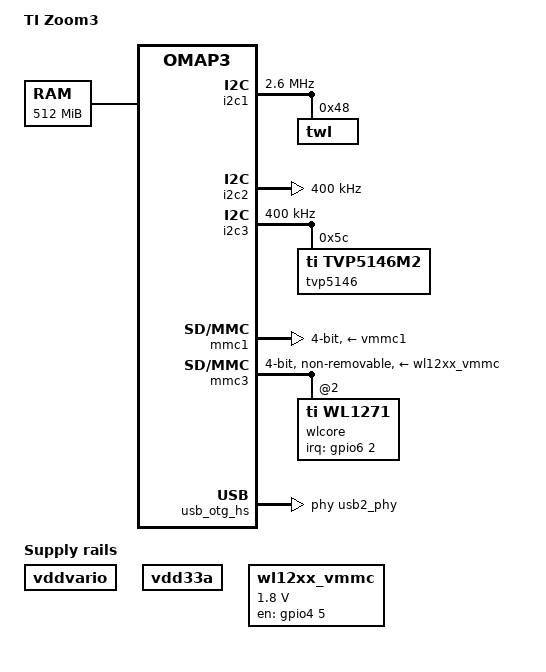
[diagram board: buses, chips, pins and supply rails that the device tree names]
// SPDX-License-Identifier: GPL-2.0-only
/*
 * Copyright (C) 2013 Texas Instruments Incorporated - http://www.ti.com/
 */
/dts-v1/;

#include "omap36xx.dtsi"
#include "omap-zoom-common.dtsi"

/ {
	model = "TI Zoom3";
	compatible = "ti,omap3-zoom3", "ti,omap36xx", "ti,omap3";

	cpus {
		cpu@0 {
			cpu0-supply = <&vcc>;
		};
	};

	memory@80000000 {
		device_type = "memory";
		reg = <0x80000000 0x20000000>; /* 512 MB */
	};

	vddvario: regulator-vddvario {
		  compatible = "regulator-fixed";
		  regulator-name = "vddvario";
		  regulator-always-on;
	};

	vdd33a: regulator-vdd33a {
		compatible = "regulator-fixed";
		regulator-name = "vdd33a";
		regulator-always-on;
	};

	wl12xx_vmmc: wl12xx_vmmc {
		pinctrl-names = "default";
		pinctrl-0 = <&wl12xx_gpio>;
		compatible = "regulator-fixed";
		regulator-name = "vwl1271";
		regulator-min-microvolt = <1800000>;
		regulator-max-microvolt = <1800000>;
		gpio = <&gpio4 5 GPIO_ACTIVE_HIGH>;	/* gpio101 */
		startup-delay-us = <70000>;
		enable-active-high;
	};
};

&omap3_pmx_core {
	/* REVISIT: twl gpio0 is mmc0_cd */
	mmc1_pins: pinmux_mmc1_pins {
		pinctrl-single,pins = <
			OMAP3_CORE1_IOPAD(0x2144, PIN_OUTPUT_PULLUP | MUX_MODE0)	/* sdmmc1_clk.sdmmc1_clk */
			OMAP3_CORE1_IOPAD(0x2146, PIN_OUTPUT_PULLUP | MUX_MODE0)	/* sdmmc1_cmd.sdmmc1_cmd */
			OMAP3_CORE1_IOPAD(0x2148, PIN_INPUT_PULLUP | MUX_MODE0)	/* sdmmc1_dat0.sdmmc1_dat0 */
			OMAP3_CORE1_IOPAD(0x214a, PIN_INPUT_PULLUP | MUX_MODE0)	/* sdmmc1_dat1.sdmmc1_dat1 */
			OMAP3_CORE1_IOPAD(0x214c, PIN_INPUT_PULLUP | MUX_MODE0)	/* sdmmc1_dat2.sdmmc1_dat2 */
			OMAP3_CORE1_IOPAD(0x214e, PIN_INPUT_PULLUP | MUX_MODE0)	/* sdmmc1_dat3.sdmmc1_dat3 */
		>;
	};

	mmc2_pins: pinmux_mmc2_pins {
		pinctrl-single,pins = <
			OMAP3_CORE1_IOPAD(0x2158, PIN_INPUT_PULLUP | MUX_MODE0)	/* sdmmc2_clk.sdmmc2_clk */
			OMAP3_CORE1_IOPAD(0x215a, PIN_INPUT_PULLUP | MUX_MODE0)	/* sdmmc2_cmd.sdmmc2_cmd */
			OMAP3_CORE1_IOPAD(0x215c, PIN_INPUT | MUX_MODE0)		/* sdmmc2_dat0.sdmmc2_dat0 */
			OMAP3_CORE1_IOPAD(0x215e, PIN_INPUT | MUX_MODE0)		/* sdmmc2_dat1.sdmmc2_dat1 */
			OMAP3_CORE1_IOPAD(0x2160, PIN_INPUT | MUX_MODE0)		/* sdmmc2_dat2.sdmmc2_dat2 */
			OMAP3_CORE1_IOPAD(0x2162, PIN_INPUT | MUX_MODE0)		/* sdmmc2_dat3.sdmmc2_dat3 */
			OMAP3_CORE1_IOPAD(0x2164, PIN_INPUT | MUX_MODE0)		/* sdmmc2_dat4.sdmmc2_dat4 */
			OMAP3_CORE1_IOPAD(0x2166, PIN_INPUT | MUX_MODE0)		/* sdmmc2_dat5.sdmmc2_dat5 */
			OMAP3_CORE1_IOPAD(0x2168, PIN_INPUT | MUX_MODE0)		/* sdmmc2_dat6.sdmmc2_dat6 */
			OMAP3_CORE1_IOPAD(0x216a, PIN_INPUT | MUX_MODE0)		/* sdmmc2_dat7.sdmmc2_dat7 */
		>;
	};

	mmc3_pins: pinmux_mmc3_pins {
		pinctrl-single,pins = <
			OMAP3_CORE1_IOPAD(0x2198, PIN_INPUT | MUX_MODE4)	/* mcbsp1_clkx.gpio_162 WLAN IRQ */
			OMAP3_CORE1_IOPAD(0x21d0, PIN_INPUT_PULLUP | MUX_MODE3)	/* mcspi1_cs1.sdmmc3_cmd */
		>;
	};

	uart1_pins: pinmux_uart1_pins {
		pinctrl-single,pins = <
                        OMAP3_CORE1_IOPAD(0x2180, PIN_INPUT | MUX_MODE0)		/* uart1_cts.uart1_cts */
                        OMAP3_CORE1_IOPAD(0x217e, PIN_OUTPUT | MUX_MODE0)		/* uart1_rts.uart1_rts */
                        OMAP3_CORE1_IOPAD(0x2182, WAKEUP_EN | PIN_INPUT | MUX_MODE0) /* uart1_rx.uart1_rx */
                        OMAP3_CORE1_IOPAD(0x217c, PIN_OUTPUT | MUX_MODE0)		/* uart1_tx.uart1_tx */
		>;
	};

	uart2_pins: pinmux_uart2_pins {
		pinctrl-single,pins = <
                        OMAP3_CORE1_IOPAD(0x2174, PIN_INPUT_PULLUP | MUX_MODE0)	/* uart2_cts.uart2_cts */
                        OMAP3_CORE1_IOPAD(0x2176, PIN_OUTPUT | MUX_MODE0)		/* uart2_rts.uart2_rts */
                        OMAP3_CORE1_IOPAD(0x217a, PIN_INPUT | MUX_MODE0)		/* uart2_rx.uart2_rx */
                        OMAP3_CORE1_IOPAD(0x2178, PIN_OUTPUT | MUX_MODE0)		/* uart2_tx.uart2_tx */
		>;
	};

	uart3_pins: pinmux_uart3_pins {
		pinctrl-single,pins = <
                        OMAP3_CORE1_IOPAD(0x219a, PIN_INPUT_PULLDOWN | MUX_MODE0)	/* uart3_cts_rctx.uart3_cts_rctx */
                        OMAP3_CORE1_IOPAD(0x219c, PIN_OUTPUT | MUX_MODE0)		/* uart3_rts_sd.uart3_rts_sd */
                        OMAP3_CORE1_IOPAD(0x219e, PIN_INPUT | MUX_MODE0)		/* uart3_rx_irrx.uart3_rx_irrx */
                        OMAP3_CORE1_IOPAD(0x21a0, PIN_OUTPUT | MUX_MODE0)		/* uart3_tx_irtx.uart3_tx_irtx */
		>;
	};

	/* wl12xx GPIO output for WLAN_EN */
	wl12xx_gpio: pinmux_wl12xx_gpio {
		pinctrl-single,pins = <
			OMAP3_CORE1_IOPAD(0x211a, PIN_OUTPUT| MUX_MODE4)		/* cam_d2.gpio_101 */
		>;
	};
};

&omap3_pmx_core2 {
	mmc3_2_pins: pinmux_mmc3_2_pins {
		pinctrl-single,pins = <
			OMAP3630_CORE2_IOPAD(0x25d8, PIN_INPUT_PULLUP | MUX_MODE2)	/* etk_clk.sdmmc3_clk */
			OMAP3630_CORE2_IOPAD(0x25e4, PIN_INPUT_PULLUP | MUX_MODE2)	/* etk_d4.sdmmc3_dat0 */
			OMAP3630_CORE2_IOPAD(0x25e6, PIN_INPUT_PULLUP | MUX_MODE2)	/* etk_d5.sdmmc3_dat1 */
			OMAP3630_CORE2_IOPAD(0x25e8, PIN_INPUT_PULLUP | MUX_MODE2)	/* etk_d6.sdmmc3_dat2 */
			OMAP3630_CORE2_IOPAD(0x25e2, PIN_INPUT_PULLUP | MUX_MODE2)	/* etk_d3.sdmmc3_dat3 */
		>;
	};
};

&omap3_pmx_wkup {
	wlan_host_wkup: pinmux_wlan_host_wkup_pins {
		pinctrl-single,pins = <
			OMAP3_WKUP_IOPAD(0x2a1a, PIN_INPUT_PULLUP | MUX_MODE4)	/* sys_clkout1.gpio_10 WLAN_HOST_WKUP */
		>;
	};
};

&i2c1 {
	clock-frequency = <2600000>;

	twl: twl@48 {
		reg = <0x48>;
		interrupts = <7>; /* SYS_NIRQ cascaded to intc */
		interrupt-parent = <&intc>;
	};
};

#include "twl4030.dtsi"

&i2c2 {
	clock-frequency = <400000>;
};

&i2c3 {
	clock-frequency = <400000>;

	/*
	 * TVP5146 Video decoder-in for analog input support.
	 */
	tvp5146@5c {
		compatible = "ti,tvp5146m2";
		reg = <0x5c>;
	};
};

&twl_gpio {
	ti,use-leds;
};

&mmc1 {
	vmmc-supply = <&vmmc1>;
	vqmmc-supply = <&vsim>;
	bus-width = <4>;
	pinctrl-names = "default";
	pinctrl-0 = <&mmc1_pins>;
};
/*
&mmc2 {
	vmmc-supply = <&vmmc2>;
	ti,non-removable;
	bus-width = <8>;
	pinctrl-names = "default";
	pinctrl-0 = <&mmc2_pins>;
};
*/
&mmc3 {
	vmmc-supply = <&wl12xx_vmmc>;
	non-removable;
	bus-width = <4>;
	cap-power-off-card;
	pinctrl-names = "default";
	pinctrl-0 = <&mmc3_pins &mmc3_2_pins>;

	#address-cells = <1>;
	#size-cells = <0>;
	wlcore: wlcore@2 {
		compatible = "ti,wl1271";
		reg = <2>;
		interrupt-parent = <&gpio6>;
		interrupts = <2 IRQ_TYPE_EDGE_RISING>; /* gpio 162 */
		ref-clock-frequency = <26000000>;
	};
};

&uart1 {
       pinctrl-names = "default";
       pinctrl-0 = <&uart1_pins>;
};

&uart2 {
       pinctrl-names = "default";
       pinctrl-0 = <&uart2_pins>;
};

&uart3 {
       pinctrl-names = "default";
       pinctrl-0 = <&uart3_pins>;
};

&uart4 {
       status = "disabled";
};

&usb_otg_hs {
	interface-type = <0>;
	usb-phy = <&usb2_phy>;
	mode = <3>;
	power = <50>;
};
